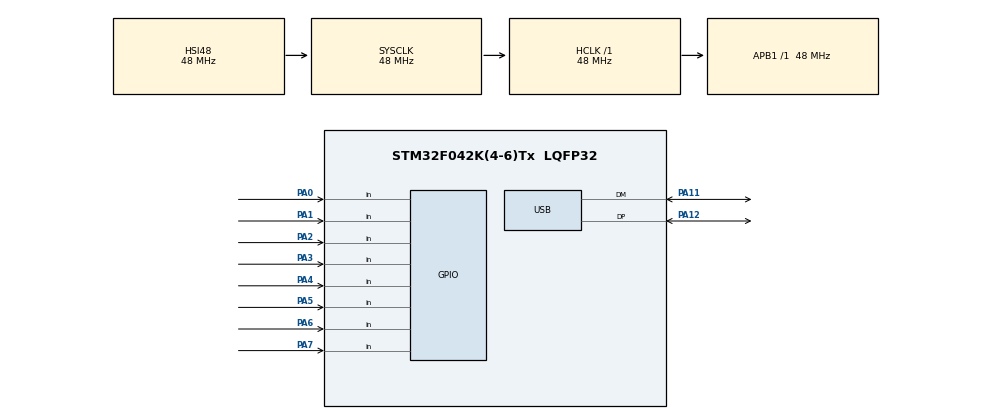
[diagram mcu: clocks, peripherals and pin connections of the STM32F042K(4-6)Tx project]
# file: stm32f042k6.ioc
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Mcu.Family=STM32F0
Mcu.Name=STM32F042K(4-6)Tx
Mcu.Package=LQFP32
NVIC.USB_IRQn=true\:0\:0\:false\:false\:true\:false\:true\:true
PA0.GPIO_PuPd=GPIO_PULLUP
PA0.Signal=GPIO_Input
PA1.GPIO_PuPd=GPIO_PULLUP
PA1.Signal=GPIO_Input
PA11.Mode=Device
PA11.Signal=USB_DM
PA12.Mode=Device
PA12.Signal=USB_DP
PA2.GPIO_PuPd=GPIO_PULLUP
PA2.Signal=GPIO_Input
PA3.GPIO_PuPd=GPIO_PULLUP
PA3.Signal=GPIO_Input
PA4.GPIO_PuPd=GPIO_PULLUP
PA4.Signal=GPIO_Input
PA5.GPIO_PuPd=GPIO_PULLUP
PA5.Signal=GPIO_Input
PA6.GPIO_PuPd=GPIO_PULLUP
PA6.Signal=GPIO_Input
PA7.GPIO_PuPd=GPIO_PULLUP
PA7.Signal=GPIO_Input
ProjectManager.HeapSize=0x200
ProjectManager.StackSize=0x400
ProjectManager.TargetToolchain=STM32CubeIDE
RCC.AHBFreq_Value=48000000
RCC.APB1Freq_Value=48000000
RCC.APB1TimFreq_Value=48000000
RCC.HCLKFreq_Value=48000000
RCC.SYSCLKFreq_VALUE=48000000
RCC.SYSCLKSource=RCC_SYSCLKSOURCE_HSI48
USB_DEVICE.CLASS_NAME_FS=HID
USB_DEVICE.MANUFACTURER_STRING=kym-kim
USB_DEVICE.VirtualMode=Hid
USB_DEVICE.VirtualModeFS=Hid_FS
VP_USB_DEVICE_VS_USB_DEVICE_HID_FS.Mode=HID_FS
board=custom

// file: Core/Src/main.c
/* USER CODE BEGIN Header */
/**
  ******************************************************************************
  * @file           : main.c
  * @brief          : Main program body
  ******************************************************************************
  * @attention
  *
  * Copyright (c) 2026 STMicroelectronics.
  * All rights reserved.
  *
  * This software is licensed under terms that can be found in the LICENSE file
  * in the root directory of this software component.
  * If no LICENSE file comes with this software, it is provided AS-IS.
  *
  ******************************************************************************
  */
/* USER CODE END Header */
#include "main.h"
#include "usb_device.h"
#include "gpio.h"

/* USER CODE BEGIN Includes */
#include "usbd_hid.h"
/* USER CODE END Includes */

/* USER CODE BEGIN PTD */
typedef struct
{
	uint8_t MODIFIER;
	uint8_t RESERVED;
	uint8_t KEYS[8];
} USBReport;
/* USER CODE END PTD */

/* USER CODE BEGIN PV */
extern USBD_HandleTypeDef hUsbDeviceFS;
USBReport report = {0,0,{0}};
uint8_t key_mapping[] = {0x1A, 0x08, 0x07, 0x06, 0x1B, 0x1D, 0x04, 0x14};
uint16_t pins[8] = {
  GPIO_PIN_0, GPIO_PIN_1, GPIO_PIN_2, GPIO_PIN_3,
  GPIO_PIN_4, GPIO_PIN_5, GPIO_PIN_6, GPIO_PIN_7
};
/* USER CODE END PV */

void SystemClock_Config(void);

int main(void)
{

  /* MCU Configuration--------------------------------------------------------*/

  /* Reset of all peripherals, Initializes the Flash interface and the Systick. */
  HAL_Init();

  /* Configure the system clock */
  SystemClock_Config();

  /* Initialize all configured peripherals */
  MX_GPIO_Init();
  MX_USB_DEVICE_Init();

  /* Infinite loop */
  while (1)
  {

    /* USER CODE BEGIN 3 */
	  uint8_t count = 0;
	  memset(&report, 0, sizeof(report));

	  for (int i = 0; i < 8; i++) {
	    if (HAL_GPIO_ReadPin(GPIOA, pins[i])) {
	      report.KEYS[i] = key_mapping[i];
	    }
	  }

	  USBD_HID_SendReport(&hUsbDeviceFS, &report, sizeof(report));
	  HAL_Delay(1);

  }
  /* USER CODE END 3 */
}

void SystemClock_Config(void)
{
  RCC_OscInitTypeDef RCC_OscInitStruct = {0};
  RCC_ClkInitTypeDef RCC_ClkInitStruct = {0};
  RCC_PeriphCLKInitTypeDef PeriphClkInit = {0};

  /** Initializes the RCC Oscillators according to the specified parameters
  * in the RCC_OscInitTypeDef structure.
  */
  RCC_OscInitStruct.OscillatorType = RCC_OSCILLATORTYPE_HSI48;
  RCC_OscInitStruct.HSI48State = RCC_HSI48_ON;
  RCC_OscInitStruct.PLL.PLLState = RCC_PLL_NONE;
  if (HAL_RCC_OscConfig(&RCC_OscInitStruct) != HAL_OK)
  {
    Error_Handler();
  }

  /** Initializes the CPU, AHB and APB buses clocks
  */
  RCC_ClkInitStruct.ClockType = RCC_CLOCKTYPE_HCLK|RCC_CLOCKTYPE_SYSCLK
                              |RCC_CLOCKTYPE_PCLK1;
  RCC_ClkInitStruct.SYSCLKSource = RCC_SYSCLKSOURCE_HSI48;
  RCC_ClkInitStruct.AHBCLKDivider = RCC_SYSCLK_DIV1;
  RCC_ClkInitStruct.APB1CLKDivider = RCC_HCLK_DIV1;

  if (HAL_RCC_ClockConfig(&RCC_ClkInitStruct, FLASH_LATENCY_1) != HAL_OK)
  {
    Error_Handler();
  }
  PeriphClkInit.PeriphClockSelection = RCC_PERIPHCLK_USB;
  PeriphClkInit.UsbClockSelection = RCC_USBCLKSOURCE_HSI48;

  if (HAL_RCCEx_PeriphCLKConfig(&PeriphClkInit) != HAL_OK)
  {
    Error_Handler();
  }
}

void Error_Handler(void)
{
  __disable_irq();
  while (1)
  {
  }
}
